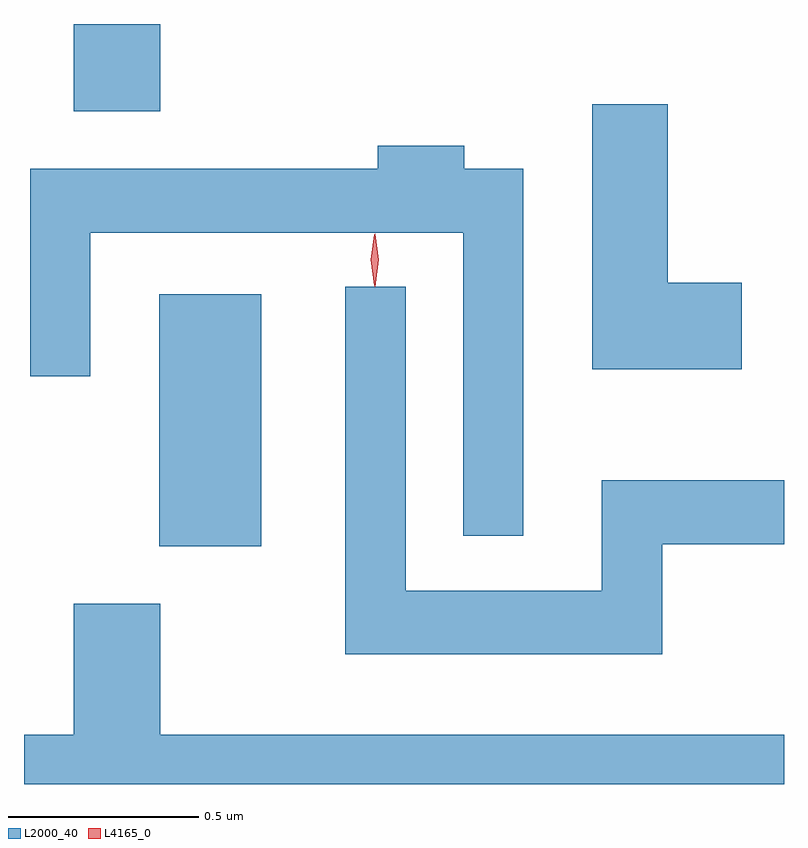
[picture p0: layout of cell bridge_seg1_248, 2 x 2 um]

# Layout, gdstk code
import gdstk
lib = gdstk.Library(unit=1e-6, precision=1e-09)
def R(c, l, rs):  # rectangles x0, y0, x1, y1
    for r in rs: c.add(gdstk.rectangle(r[:2], r[2:], *l))
def P(c, l, *ps):  # polygons
    for p in ps: c.add(gdstk.Polygon(p, *l))
L2000_40 = (2000, 40)
L4165_0 = (4165, 0)

bridge_seg1_248 = lib.new_cell('bridge_seg1_248')
R(bridge_seg1_248, L2000_40, [(837.606,880.361,837.874,881.024), (837.381,881.506,837.609,881.735)])
P(bridge_seg1_248, L2000_40, [(839.139,881.054),(838.944,881.054),(838.944,881.524),(838.746,881.524),(838.746,880.826),(839.139,880.826)],
  [(838.564,881.354),(838.409,881.354),(838.409,881.414),(838.181,881.414),(838.181,881.354),(837.266,881.354),(837.266,880.808),(837.424,880.808),(837.424,881.186),(838.406,881.186),(838.406,880.388),(838.564,880.388)],
  [(838.929,880.366),(839.25,880.366),(839.25,880.534),(838.771,880.534),(838.771,880.244),(838.254,880.244),(838.254,881.043),(838.096,881.043),(838.096,880.076),(838.929,880.076)],
  [(837.381,880.209),(837.381,879.864),(837.25,879.864),(837.25,879.735),(839.25,879.735),(839.25,879.864),(837.609,879.864),(837.609,880.209)])
P(bridge_seg1_248, L4165_0, [(838.173,881.044),(838.164,881.114),(838.173,881.182),(838.174,881.183),(838.174,881.182),(838.184,881.114),(838.174,881.044),(838.174,881.044)],
  [(838.172,881.047),(838.172,881.047),(838.162,881.114),(838.172,881.18),(838.172,881.18),(838.172,881.18),(838.182,881.114),(838.172,881.047)])

lib.write_gds('bridge_seg1_248.gds')
